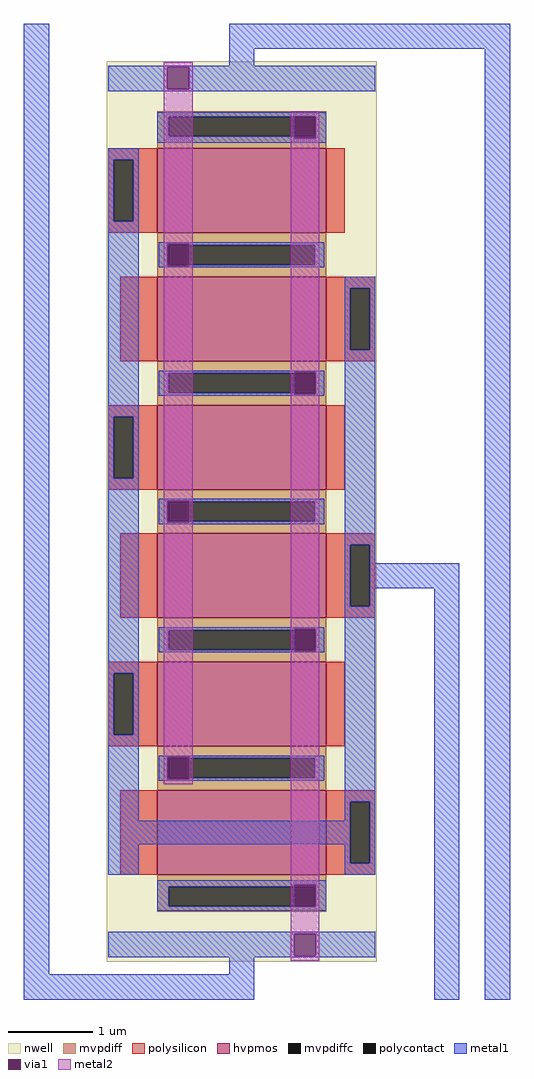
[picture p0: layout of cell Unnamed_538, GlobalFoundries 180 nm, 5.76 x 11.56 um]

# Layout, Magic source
magic
tech gf180mcuD
magscale 1 10
<< nwell >>
rect -520 -192 120 1940
<< hvpmos >>
rect -400 1534 0 1734
rect -400 1230 0 1430
rect -400 926 0 1126
rect -400 622 0 822
rect -400 318 0 518
rect -400 14 0 214
<< mvpdiff >>
rect -400 1809 0 1822
rect -400 1763 -373 1809
rect -27 1763 0 1809
rect -400 1734 0 1763
rect -400 1505 0 1534
rect -400 1459 -373 1505
rect -27 1459 0 1505
rect -400 1430 0 1459
rect -400 1201 0 1230
rect -400 1155 -373 1201
rect -27 1155 0 1201
rect -400 1126 0 1155
rect -400 897 0 926
rect -400 851 -373 897
rect -27 851 0 897
rect -400 822 0 851
rect -400 593 0 622
rect -400 547 -373 593
rect -27 547 0 593
rect -400 518 0 547
rect -400 289 0 318
rect -400 243 -373 289
rect -27 243 0 289
rect -400 214 0 243
rect -400 -15 0 14
rect -400 -61 -373 -15
rect -27 -61 0 -15
rect -400 -74 0 -61
<< mvpdiffc >>
rect -373 1763 -27 1809
rect -373 1459 -27 1505
rect -373 1155 -27 1201
rect -373 851 -27 897
rect -373 547 -27 593
rect -373 243 -27 289
rect -373 -61 -27 -15
<< polysilicon >>
rect -516 1707 -400 1734
rect -516 1561 -503 1707
rect -457 1561 -400 1707
rect -516 1534 -400 1561
rect 0 1534 44 1734
rect -488 1230 -400 1430
rect 0 1403 116 1430
rect 0 1257 57 1403
rect 103 1257 116 1403
rect 0 1230 116 1257
rect -516 1099 -400 1126
rect -516 953 -503 1099
rect -457 953 -400 1099
rect -516 926 -400 953
rect 0 926 44 1126
rect -488 622 -400 822
rect 0 795 116 822
rect 0 649 57 795
rect 103 649 116 795
rect 0 622 116 649
rect -516 491 -400 518
rect -516 345 -503 491
rect -457 345 -400 491
rect -516 318 -400 345
rect 0 318 44 518
rect -488 14 -400 214
rect 0 187 116 214
rect 0 41 57 187
rect 103 41 116 187
rect 0 14 116 41
<< polycontact >>
rect -503 1561 -457 1707
rect 57 1257 103 1403
rect -503 953 -457 1099
rect 57 649 103 795
rect -503 345 -457 491
rect 57 41 103 187
<< metal1 >>
rect -716 -222 -656 2030
rect -230 1970 436 2030
rect -230 1930 -170 1970
rect -516 1926 116 1930
rect -516 1874 -376 1926
rect -324 1874 116 1926
rect -516 1870 116 1874
rect -400 1810 0 1820
rect -400 1809 -76 1810
rect -400 1763 -373 1809
rect -400 1758 -76 1763
rect -24 1758 0 1810
rect -400 1748 0 1758
rect -516 1707 -444 1734
rect -516 1561 -503 1707
rect -457 1561 -444 1707
rect -516 1099 -444 1561
rect -396 1508 -4 1512
rect -396 1456 -376 1508
rect -324 1505 -4 1508
rect -27 1459 -4 1505
rect -324 1456 -4 1459
rect -396 1452 -4 1456
rect 44 1403 116 1430
rect 44 1257 57 1403
rect 103 1257 116 1403
rect -396 1204 -4 1208
rect -396 1201 -76 1204
rect -396 1155 -373 1201
rect -396 1152 -76 1155
rect -24 1152 -4 1204
rect -396 1148 -4 1152
rect -516 953 -503 1099
rect -457 953 -444 1099
rect -516 491 -444 953
rect -396 900 -4 904
rect -396 848 -376 900
rect -324 897 -4 900
rect -27 851 -4 897
rect -324 848 -4 851
rect -396 844 -4 848
rect 44 795 116 1257
rect 44 649 57 795
rect 103 752 116 795
rect 103 692 316 752
rect 103 649 116 692
rect -396 596 -4 600
rect -396 593 -76 596
rect -396 547 -373 593
rect -396 544 -76 547
rect -24 544 -4 596
rect -396 540 -4 544
rect -516 345 -503 491
rect -457 345 -444 491
rect -516 142 -444 345
rect -396 292 -4 296
rect -396 240 -376 292
rect -324 289 -4 292
rect -27 243 -4 289
rect -324 240 -4 243
rect -396 236 -4 240
rect 44 187 116 649
rect 44 142 57 187
rect -516 86 57 142
rect -516 14 -444 86
rect 44 41 57 86
rect 103 41 116 187
rect 44 14 116 41
rect -400 -10 0 0
rect -400 -15 -76 -10
rect -400 -61 -373 -15
rect -400 -62 -76 -61
rect -24 -62 0 -10
rect -400 -72 0 -62
rect -516 -126 116 -122
rect -516 -178 -76 -126
rect -24 -178 116 -126
rect -516 -182 116 -178
rect -230 -222 -170 -182
rect -716 -282 -170 -222
rect 256 -282 316 692
rect 376 -282 436 1970
<< via1 >>
rect -376 1874 -324 1926
rect -76 1809 -24 1810
rect -76 1763 -27 1809
rect -27 1763 -24 1809
rect -76 1758 -24 1763
rect -376 1505 -324 1508
rect -376 1459 -373 1505
rect -373 1459 -324 1505
rect -376 1456 -324 1459
rect -76 1201 -24 1204
rect -76 1155 -27 1201
rect -27 1155 -24 1201
rect -76 1152 -24 1155
rect -376 897 -324 900
rect -376 851 -373 897
rect -373 851 -324 897
rect -376 848 -324 851
rect -76 593 -24 596
rect -76 547 -27 593
rect -27 547 -24 593
rect -76 544 -24 547
rect -376 289 -324 292
rect -376 243 -373 289
rect -373 243 -324 289
rect -376 240 -324 243
rect -76 -15 -24 -10
rect -76 -61 -27 -15
rect -27 -61 -24 -15
rect -76 -62 -24 -61
rect -76 -178 -24 -126
<< metal2 >>
rect -384 1926 -316 1938
rect -384 1874 -376 1926
rect -324 1874 -316 1926
rect -384 1508 -316 1874
rect -384 1456 -376 1508
rect -324 1456 -316 1508
rect -384 900 -316 1456
rect -384 848 -376 900
rect -324 848 -316 900
rect -384 292 -316 848
rect -384 240 -376 292
rect -324 240 -316 292
rect -384 228 -316 240
rect -84 1810 -16 1822
rect -84 1758 -76 1810
rect -24 1758 -16 1810
rect -84 1204 -16 1758
rect -84 1152 -76 1204
rect -24 1152 -16 1204
rect -84 596 -16 1152
rect -84 544 -76 596
rect -24 544 -16 596
rect -84 -10 -16 544
rect -84 -62 -76 -10
rect -24 -62 -16 -10
rect -84 -126 -16 -62
rect -84 -178 -76 -126
rect -24 -178 -16 -126
rect -84 -190 -16 -178
<< end >>
